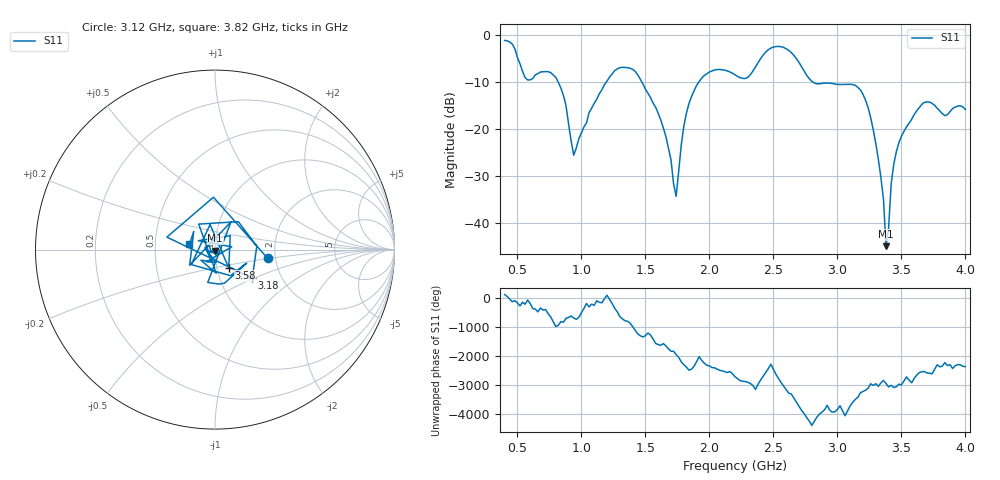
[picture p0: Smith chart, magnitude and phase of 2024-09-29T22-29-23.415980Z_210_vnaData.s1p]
!Created with skrf (http://scikit-rf.org).
# Hz S RI R 50.0
!freq ReS11 ImS11
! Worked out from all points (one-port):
!   181 points, 400 MHz to 4 GHz, reference 50 ohm
!   lowest |S11| = -45.0 dB at 3.38 GHz (marker M1), VSWR 1.01, Z = 50.1 - j0.551 ohm
!   |S11| at or under -10 dB: 818.6 MHz to 1.195 GHz (376.3 MHz wide, 37.4 % of centre); 1.472 GHz to 1.917 GHz (444.9 MHz wide, 26.2 % of centre); 2.808 GHz to end of sweep
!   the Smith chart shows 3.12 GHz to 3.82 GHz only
!   S11 on the Smith chart (normalised r, x): 3.12 GHz: 1.82, -0.19; 3.18 GHz: 1.43, -0.49; 3.58 GHz: 1.14, -0.23; 3.82 GHz: 0.75, +0.05
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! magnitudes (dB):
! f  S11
! 400 MHz  -1.1
! 560 MHz  -9.1
! 760 MHz  -8.0
! 860 MHz  -12.9
! 940 MHz  -25.6
! 1.3 GHz  -6.9
! 1.58 GHz  -15.4
! 1.66 GHz  -21.6
! 1.74 GHz  -34.3
! 1.76 GHz  -29.0
! 1.82 GHz  -16.7
! 1.9 GHz  -10.7
! 2.2 GHz  -8.4
! 2.5 GHz  -2.5
! 2.66 GHz  -4.3
! 2.82 GHz  -10.2
! 3.1 GHz  -10.5
! 3.12 GHz  -10.5
! 3.18 GHz  -11.7
! 3.3 GHz  -23.1
! 3.36 GHz  -35.0
! 3.38 GHz  -45.0
! 3.44 GHz  -27.6
! 3.56 GHz  -18.8
! 3.58 GHz  -17.9
! 3.68 GHz  -14.3
! 3.82 GHz  -16.8
! 4 GHz  -15.8
